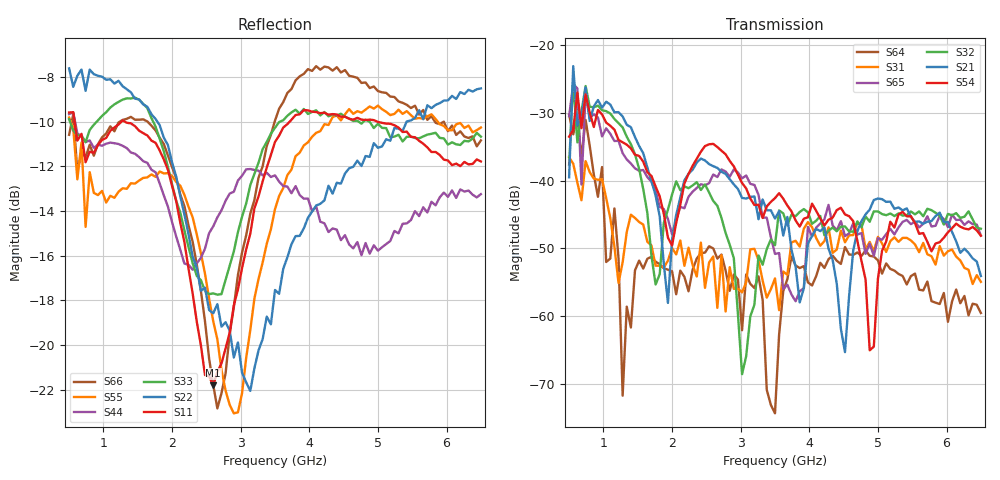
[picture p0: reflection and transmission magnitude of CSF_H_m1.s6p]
!Keysight Technologies,M9804A,MY58100912,A.14.10.03
!Date: Thursday, April 27, 2023 10:28:33
!Correction: S11(C  6-Port  )
!S12(C  6-Port  )
!S13(C  6-Port  )
!S14(C  6-Port  )
!S15(C  6-Port  )
!S16(C  6-Port  )
!S21(C  6-Port  )
!S22(C  6-Port  )
!S23(C  6-Port  )
!S24(C  6-Port  )
!S25(C  6-Port  )
!S26(C  6-Port  )
!S31(C  6-Port  )
!S32(C  6-Port  )
!S33(C  6-Port  )
!S34(C  6-Port  )
!S35(C  6-Port  )
!S36(C  6-Port  )
!S41(C  6-Port  )
!S42(C  6-Port  )
!S43(C  6-Port  )
!S44(C  6-Port  )
!S45(C  6-Port  )
!S46(C  6-Port  )
!S51(C  6-Port  )
!S52(C  6-Port  )
!S53(C  6-Port  )
!S54(C  6-Port  )
!S55(C  6-Port  )
!S56(C  6-Port  )
!S61(C  6-Port  )
!S62(C  6-Port  )
!S63(C  6-Port  )
!S64(C  6-Port  )
!S65(C  6-Port  )
!S66(C  6-Port  )
!S6P File: Measurement: :
# Hz S  RI  R 50
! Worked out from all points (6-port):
!   101 points, 500 MHz to 6.5 GHz, reference 50 ohm
!   strongest paths, dB at 500 MHz, 2 GHz, 3.5 GHz, 5 GHz, 6.5 GHz:
!     S54: -33.5, -49.6, -42.6, -54.5, -48.1
!     S21: -39.5, -48.7, -45.6, -42.6, -54.1
!     S32: -37.7, -42.0, -49.5, -44.5, -47.1
!     S65: -30.5, -47.9, -50.8, -48.5, -48.1
!     S31: -36.5, -49.9, -54.4, -48.3, -54.9
!     S64: -30.3, -53.4, -74.4, -51.8, -59.5
!   lowest |S11| = -21.8 dB at 2.6 GHz (marker M1), VSWR 1.18, Z = 42.7 + j1.94 ohm
!   |S11| at or under -10 dB: 579.8 MHz to 1.263 GHz (683.2 MHz wide, 74.1 % of centre); 1.31 GHz to 3.714 GHz (2.404 GHz wide, 95.7 % of centre); 4.99 GHz to end of sweep
